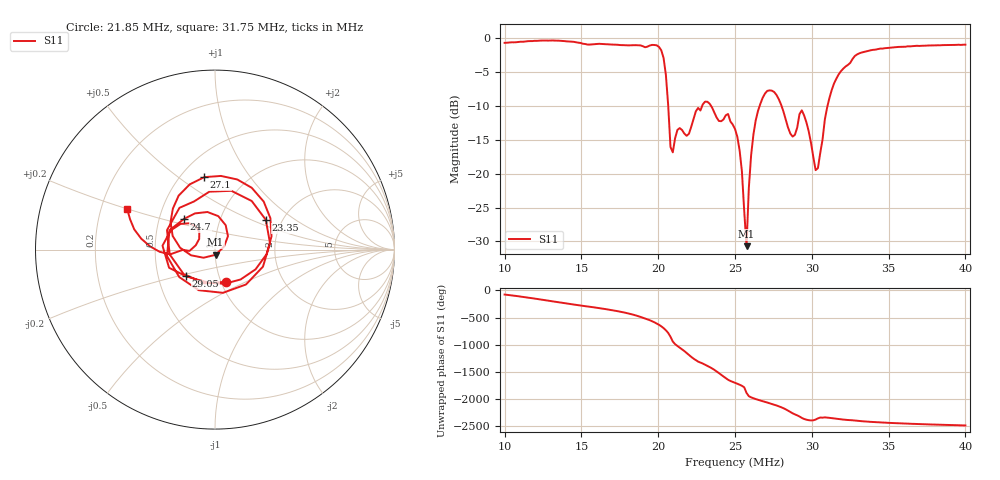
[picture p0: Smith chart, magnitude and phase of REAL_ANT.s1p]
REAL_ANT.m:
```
clear all, close all, clc;

% Load S-parameters from s1p file
S = sparameters('REAL_ANT.s1p');
freq = S.Frequencies;  % Frequency in Hz
S11 = squeeze(S.Parameters(1,1,:));
    
% Convert to dB (use 20log for voltages)
S11_dB = 20*log10(abs(S11));

figure;
tiledlayout(1,2);
    
% S11
nexttile;
semilogx(freq .* 10^-6, S11_dB, 'b','LineWidth',1.5);
xlabel('Frequency (MHz)');
ylabel('|S11| (dB)');
title('S11');
xlim([20 30]);
hold on;
grid on;

% Surrogate frequencies
xline(21.450, 'label', '21.450');
xline(24.890, 'label', '24.890');

% Actual frequencies
xline(20.510, 'r', 'label', '20.510');
xline(21.460, 'r', 'label', '21.460');
xline(23.180, 'r', 'label', '23.180');
xline(24.450, 'r', 'label', '24.450');
xline(26.875, 'r', 'label', '26.875');

VSWR = (1 + abs(S11)) ./ (1 - abs(S11));

% VSWR
nexttile;
semilogx(freq .* 10^-6, VSWR, 'r','LineWidth',1.5);
xlabel('Frequency (MHz)');
ylabel('VSWR');
title('VSWR');
hold on;
grid on;
xlim([20 30]);
ylim([1 10]);

% Surrogate frequencies
xline(21.025, 'label', '21.025');
xline(21.200, 'label', '21.200');
xline(21.275, 'label', '21.275');
xline(21.450, 'label', '21.450');
xline(24.890, 'label', '24.890');
xline(24.990, 'label', '24.990');
xline(28.000, 'label', '28.000');
xline(29.700, 'label', '29.700');

% General License Operating Regions
%xregion(14.025, 14.150, [0.8 0.8 0.8]); % 20m
%xregion(14.225, 14.350, [0.8 0.8 0.8]); % 20m
%xregion(18.068, 18.168, [0.8 0.8 0.8]); % 17m
%xregion(21.025, 21.200, [0.8 0.8 0.8]); % 15m
%xregion(21.275, 21.450, [0.8 0.8 0.8]); % 15m
%xregion(24.890, 24.990, [0.8 0.8 0.8]); % 12m
%xregion(28.000, 29.700, [0.8 0.8 0.8]); % 10m

Y_points = [1, 10, 10, 1];

fill([21.025, 21.025, 21.200, 21.200], Y_points, [0.8 0.8 0.8], 'FaceAlpha', 0.75, 'EdgeColor', 'none'); 
fill([21.275, 21.275, 21.450, 21.450], Y_points, [0.8 0.8 0.8], 'FaceAlpha', 0.75, 'EdgeColor', 'none'); 
fill([24.890, 24.890, 24.990, 24.990], Y_points, [0.8 0.8 0.8], 'FaceAlpha', 0.75, 'EdgeColor', 'none'); 
fill([28.000, 28.000, 29.700, 29.700], Y_points, [0.8 0.8 0.8], 'FaceAlpha', 0.75, 'EdgeColor', 'none'); 

% Actual frequencies
xline(20.510, 'r', 'label', '20.510');
xline(21.460, 'r', 'label', '21.460');
xline(23.180, 'r', 'label', '23.180');
xline(24.450, 'r', 'label', '24.450');
xline(26.875, 'r', 'label', '26.875');

% Create Smith chart
%figure('Name','Smith Chart from .s1p file','NumberTitle','off');
%smithplot(S11);
```
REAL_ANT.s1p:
!Keysight Technologies N9916A: A.13.10
!Date: Tuesday, 11 November 2025 18:37:39
!TimeZone: (UTC-06:00) Central Time (US & Canada)!Model: N9916A
!Serial: MY57273160
!GPS Latitude:
!GPS Longitude:
!GPS TimeStamp: 0001-01-01 00:00:00Z
!GPS Seconds Since Last Read: 0
!CHECKSUM:0672970959
!Correction: S11(ON U)
!S1P File: Measurement: S11:
# Hz S DB R 50
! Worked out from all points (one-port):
!   201 points, 10 MHz to 40 MHz, reference 50 ohm
!   lowest |S11| = -30.7 dB at 25.75 MHz (marker M1), VSWR 1.06, Z = 50.2 - j2.91 ohm
!   |S11| at or under -10 dB: 20.65 MHz to 22.86 MHz (2.211 MHz wide, 10.2 % of centre); 23.44 MHz to 26.61 MHz (3.165 MHz wide, 12.6 % of centre); 28.03 MHz to 31.02 MHz (2.994 MHz wide, 10.1 % of centre)
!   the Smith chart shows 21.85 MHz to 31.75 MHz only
!   S11 on the Smith chart (normalised r, x): 21.85 MHz: 1.06, -0.39; 23.35 MHz: 1.65, +0.61; 24.7 MHz: 0.67, +0.24; 27.1 MHz: 0.65, +0.63; 29.05 MHz: 0.70, -0.22; 31.75 MHz: 0.31, +0.20
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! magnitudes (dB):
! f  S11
! 10 MHz  -0.7
! 20.05 MHz  -1.3
! 20.8 MHz  -16.1
! 21.85 MHz  -14.4
! 23.35 MHz  -9.7
! 24.7 MHz  -12.3
! 25.3 MHz  -16.6
! 25.75 MHz  -30.7
! 26.2 MHz  -14.2
! 27.1 MHz  -7.8
! 29.05 MHz  -13.2
! 30.1 MHz  -17.6
! 31.75 MHz  -5.3
! 40 MHz  -1.0
